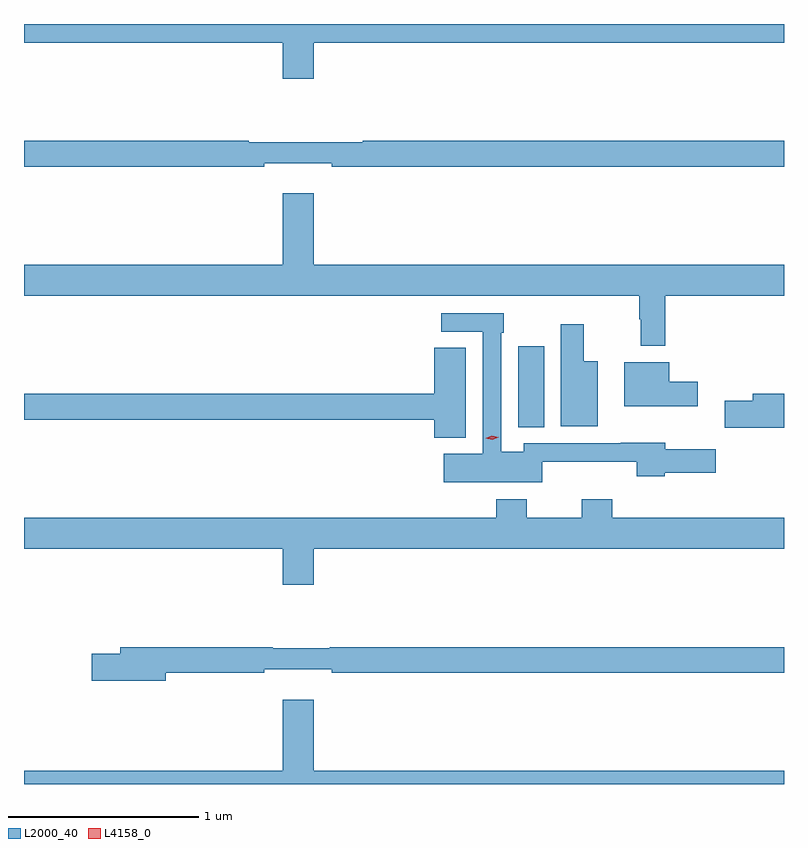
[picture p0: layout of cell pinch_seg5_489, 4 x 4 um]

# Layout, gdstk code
import gdstk
lib = gdstk.Library(unit=1e-6, precision=1e-09)
def R(c, l, rs):  # rectangles x0, y0, x1, y1
    for r in rs: c.add(gdstk.rectangle(r[:2], r[2:], *l))
def P(c, l, *ps):  # polygons
    for p in ps: c.add(gdstk.Polygon(p, *l))
L2000_40 = (2000, 40)
L4158_0 = (4158, 0)

pinch_seg5_489 = lib.new_cell('pinch_seg5_489')
R(pinch_seg5_489, L2000_40, [(909.503,846.745,909.64,847.171)])
P(pinch_seg5_489, L2000_40, [(908.428,848.768),(910.903,848.768),(910.903,848.867),(906.903,848.867),(906.903,848.768),(908.264,848.768),(908.264,848.58),(908.428,848.58)],
  [(908.168,848.135),(908.524,848.135),(908.524,848.116),(910.903,848.116),(910.903,848.252),(908.686,848.252),(908.686,848.245),(908.086,848.245),(908.086,848.252),(906.903,848.252),(906.903,848.116),(908.168,848.116)],
  [(910.277,847.436),(910.903,847.436),(910.903,847.6),(908.428,847.6),(908.428,847.975),(908.264,847.975),(908.264,847.6),(906.903,847.6),(906.903,847.436),(910.141,847.436),(910.141,847.313),(910.149,847.313),(910.149,847.173),(910.277,847.173)],
  [(909.63,846.563),(910.127,846.563),(910.127,846.488),(910.275,846.488),(910.275,846.506),(910.543,846.506),(910.543,846.628),(910.279,846.628),(910.279,846.662),(910.043,846.662),(910.043,846.66),(909.534,846.66),(909.534,846.616),(909.414,846.616),(909.414,847.241),(909.427,847.241),(909.427,847.344),(909.099,847.344),(909.099,847.248),(909.318,847.248),(909.318,846.604),(909.111,846.604),(909.111,846.455),(909.63,846.455)],
  [(909.922,847.093),(909.85,847.093),(909.85,847.288),(909.728,847.288),(909.728,846.749),(909.922,846.749)],
  [(909.229,847.163),(909.062,847.163),(909.062,846.92),(906.903,846.92),(906.903,846.784),(909.062,846.784),(909.062,846.689),(909.229,846.689)],
  [(910.45,846.984),(910.3,846.984),(910.3,847.087),(910.061,847.087),(910.061,846.854),(910.45,846.854)],
  [(910.903,846.92),(910.739,846.92),(910.739,846.884),(910.59,846.884),(910.59,846.742),(910.903,846.742)],
  [(908.428,846.104),(910.903,846.104),(910.903,846.268),(909.998,846.268),(909.998,846.367),(909.838,846.367),(909.838,846.268),(909.549,846.268),(909.549,846.367),(909.389,846.367),(909.389,846.268),(906.903,846.268),(906.903,846.104),(908.264,846.104),(908.264,845.916),(908.428,845.916)],
  [(907.648,845.452),(908.168,845.452),(908.168,845.471),(908.524,845.471),(908.524,845.452),(910.903,845.452),(910.903,845.588),(908.513,845.588),(908.513,845.581),(908.213,845.581),(908.213,845.588),(907.409,845.588),(907.409,845.552),(907.26,845.552),(907.26,845.41),(907.648,845.41)],
  [(910.903,844.936),(908.428,844.936),(908.428,845.311),(908.264,845.311),(908.264,844.936),(906.903,844.936),(906.903,844.867),(910.903,844.867)])
P(pinch_seg5_489, L4158_0, [(909.367,846.68),(909.332,846.688),(909.332,846.688),(909.332,846.688),(909.366,846.7),(909.401,846.691),(909.402,846.691),(909.401,846.691)])

lib.write_gds('pinch_seg5_489.gds')
